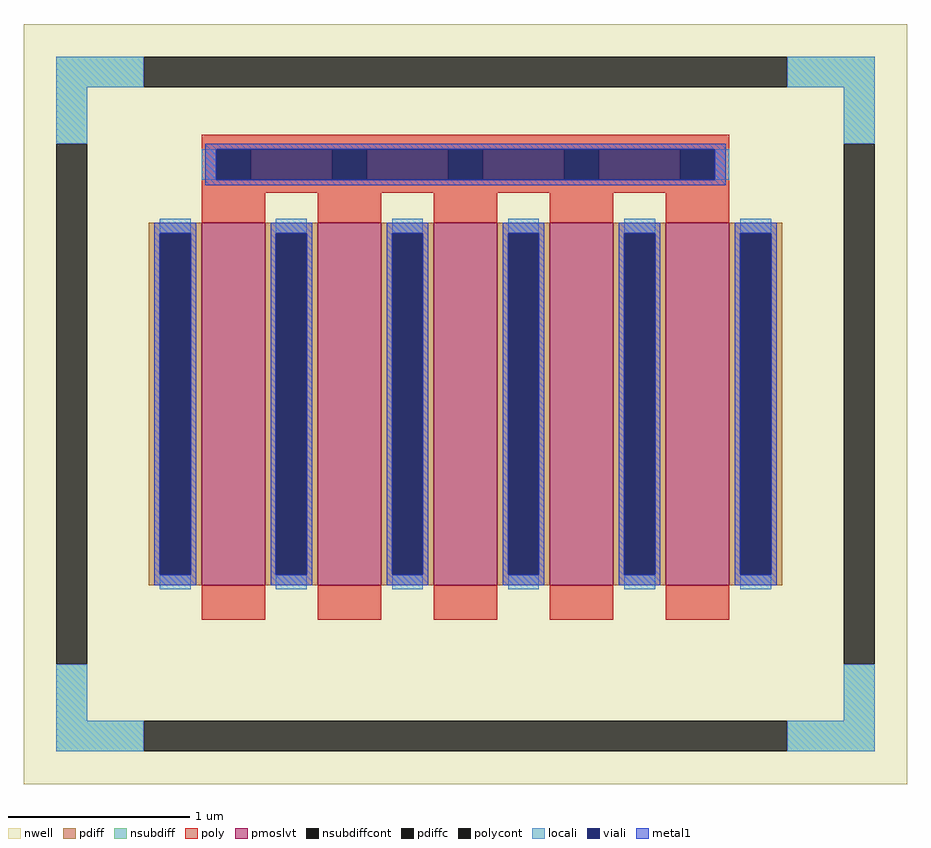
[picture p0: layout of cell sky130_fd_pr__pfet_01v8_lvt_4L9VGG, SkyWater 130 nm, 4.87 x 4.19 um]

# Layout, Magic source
magic
tech sky130A
magscale 1 2
<< nwell >>
rect -487 -419 487 419
<< pmoslvt >>
rect -291 -200 -221 200
rect -163 -200 -93 200
rect -35 -200 35 200
rect 93 -200 163 200
rect 221 -200 291 200
<< pdiff >>
rect -349 188 -291 200
rect -349 -188 -337 188
rect -303 -188 -291 188
rect -349 -200 -291 -188
rect -221 188 -163 200
rect -221 -188 -209 188
rect -175 -188 -163 188
rect -221 -200 -163 -188
rect -93 188 -35 200
rect -93 -188 -81 188
rect -47 -188 -35 188
rect -93 -200 -35 -188
rect 35 188 93 200
rect 35 -188 47 188
rect 81 -188 93 188
rect 35 -200 93 -188
rect 163 188 221 200
rect 163 -188 175 188
rect 209 -188 221 188
rect 163 -200 221 -188
rect 291 188 349 200
rect 291 -188 303 188
rect 337 -188 349 188
rect 291 -200 349 -188
<< pdiffc >>
rect -337 -188 -303 188
rect -209 -188 -175 188
rect -81 -188 -47 188
rect 47 -188 81 188
rect 175 -188 209 188
rect 303 -188 337 188
<< nsubdiff >>
rect -451 349 -355 383
rect 355 349 451 383
rect -451 287 -417 349
rect 417 287 451 349
rect -451 -349 -417 -287
rect 417 -349 451 -287
rect -451 -383 -355 -349
rect 355 -383 451 -349
<< nsubdiffcont >>
rect -355 349 355 383
rect -451 -287 -417 287
rect 417 -287 451 287
rect -355 -383 355 -349
<< poly >>
rect -291 281 291 297
rect -291 247 -275 281
rect -237 247 -147 281
rect -109 247 -19 281
rect 19 247 109 281
rect 147 247 237 281
rect 275 247 291 281
rect -291 233 291 247
rect -291 200 -221 233
rect -163 200 -93 233
rect -35 200 35 233
rect 93 200 163 233
rect 221 200 291 233
rect -291 -238 -221 -200
rect -163 -238 -93 -200
rect -35 -238 35 -200
rect 93 -238 163 -200
rect 221 -238 291 -200
<< polycont >>
rect -275 247 -237 281
rect -147 247 -109 281
rect -19 247 19 281
rect 109 247 147 281
rect 237 247 275 281
<< locali >>
rect -451 349 -355 383
rect 355 349 451 383
rect -451 287 -417 349
rect 417 287 451 349
rect -291 247 -275 281
rect 275 247 291 281
rect -337 188 -303 204
rect -337 -204 -303 -188
rect -209 188 -175 204
rect -209 -204 -175 -188
rect -81 188 -47 204
rect -81 -204 -47 -188
rect 47 188 81 204
rect 47 -204 81 -188
rect 175 188 209 204
rect 175 -204 209 -188
rect 303 188 337 204
rect 303 -204 337 -188
rect -451 -349 -417 -287
rect 417 -349 451 -287
rect -451 -383 -355 -349
rect 355 -383 451 -349
<< viali >>
rect -275 247 -237 281
rect -237 247 -147 281
rect -147 247 -109 281
rect -109 247 -19 281
rect -19 247 19 281
rect 19 247 109 281
rect 109 247 147 281
rect 147 247 237 281
rect 237 247 275 281
rect -337 -188 -303 188
rect -209 -188 -175 188
rect -81 -188 -47 188
rect 47 -188 81 188
rect 175 -188 209 188
rect 303 -188 337 188
<< metal1 >>
rect -287 281 287 287
rect -287 247 -275 281
rect 275 247 287 281
rect -287 241 287 247
rect -343 188 -297 200
rect -343 -188 -337 188
rect -303 -188 -297 188
rect -343 -200 -297 -188
rect -215 188 -169 200
rect -215 -188 -209 188
rect -175 -188 -169 188
rect -215 -200 -169 -188
rect -87 188 -41 200
rect -87 -188 -81 188
rect -47 -188 -41 188
rect -87 -200 -41 -188
rect 41 188 87 200
rect 41 -188 47 188
rect 81 -188 87 188
rect 41 -200 87 -188
rect 169 188 215 200
rect 169 -188 175 188
rect 209 -188 215 188
rect 169 -200 215 -188
rect 297 188 343 200
rect 297 -188 303 188
rect 337 -188 343 188
rect 297 -200 343 -188
<< properties >>
string gencell sky130_fd_pr__pfet_01v8_lvt
string FIXED_BBOX -434 -366 434 366
string parameters w 2 l 0.35 m 1 nf 5 diffcov 100 polycov 100 guard 1 glc 1 grc 1 gtc 1 gbc 1 tbcov 100 rlcov 100 topc 1 botc 1 poverlap 0 doverlap 1 lmin 0.35 wmin 0.42 compatible {sky130_fd_pr__pfet_01v8  sky130_fd_pr__pfet_01v8_lvt sky130_fd_pr__pfet_01v8_hvt  sky130_fd_pr__pfet_g5v0d10v5} full_metal 1 viasrc 100 viadrn 100 viagate 100 viagb 0 viagr 0 viagl 0 viagt 0
string library sky130
<< end >>
